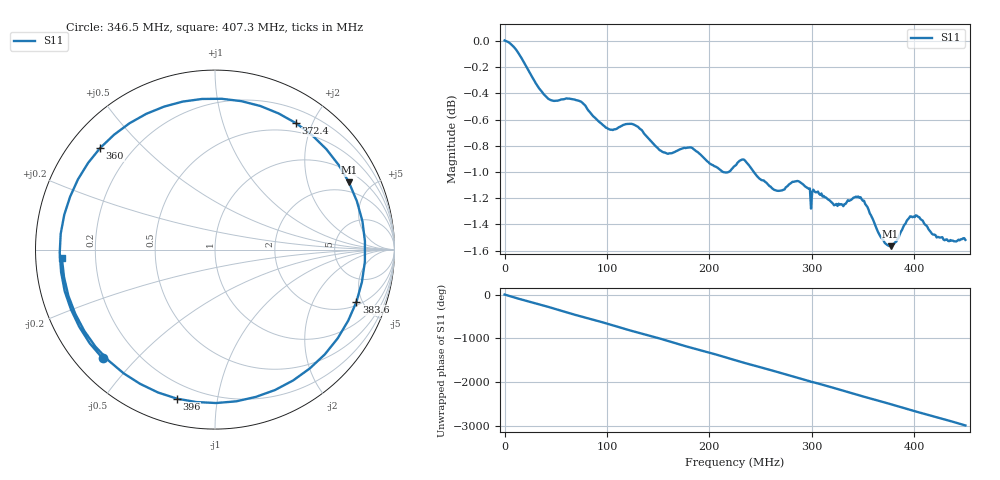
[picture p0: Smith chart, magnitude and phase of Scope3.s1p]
! NanoVNA-App
! Date: 2026-10-05 11:22:20
! Start: 50kHz Stop: 450MHz Points: 401
! S-Parameter data: F S11
# Hz S RI R 50
!  Frequency  S11_Real  S11_Imag
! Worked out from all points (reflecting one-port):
!   401 points, 50 kHz to 450 MHz, reference 50 ohm
!   lowest |S11| = -1.6 dB at 376.9 MHz (marker M1), VSWR 11.12, Z = 74 + j183 ohm
!   phase of S11 starts at -0 deg and turns -2978 deg over the sweep
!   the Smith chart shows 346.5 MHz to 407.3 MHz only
!   S11 on the Smith chart (normalised r, x): 346.5 MHz: 0.08, -0.40; 360 MHz: 0.09, +0.38; 372.4 MHz: 0.38, +1.77; 383.6 MHz: 2.27, -4.49; 396 MHz: 0.12, -0.77; 407.3 MHz: 0.08, -0.03
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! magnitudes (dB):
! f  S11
! 50 kHz  0.0
! 11.3 MHz  -0.1
! 40.55 MHz  -0.4
! 56.29 MHz  -0.4
! 74.29 MHz  -0.5
! 101.3 MHz  -0.7
! 112.5 MHz  -0.7
! 126 MHz  -0.6
! 153 MHz  -0.8
! 168.8 MHz  -0.8
! 183.4 MHz  -0.8
! 214.9 MHz  -1.0
! 225 MHz  -1.0
! 234 MHz  -0.9
! 265.5 MHz  -1.1
! 281.3 MHz  -1.1
! 322.9 MHz  -1.3
! 337.5 MHz  -1.2
! 346.5 MHz  -1.2
! 360 MHz  -1.4
! 372.4 MHz  -1.5
! 376.9 MHz  -1.6
! 383.6 MHz  -1.5
! 393.8 MHz  -1.4
! 396 MHz  -1.3
! 407.3 MHz  -1.4
! 423 MHz  -1.5
! 450 MHz  -1.5
